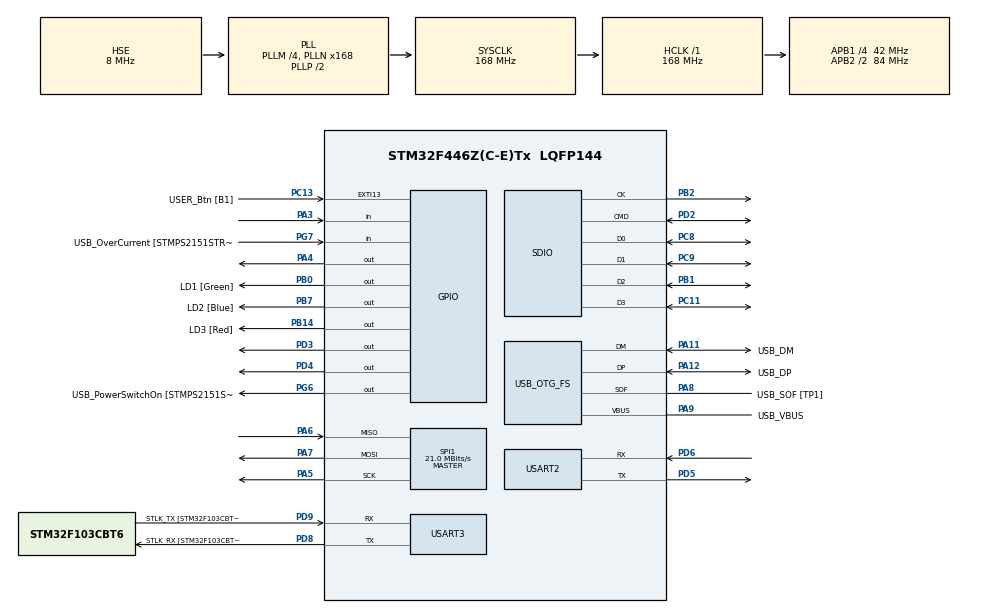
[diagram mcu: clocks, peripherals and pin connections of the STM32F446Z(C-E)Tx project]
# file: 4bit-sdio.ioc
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Dma.Request0=SDIO_TX
Dma.Request1=SDIO_RX
Dma.Request2=SPI1_RX
Dma.Request3=SPI1_TX
Dma.SDIO_RX.1.Direction=DMA_PERIPH_TO_MEMORY
Dma.SDIO_RX.1.FIFOMode=DMA_FIFOMODE_ENABLE
Dma.SDIO_RX.1.FIFOThreshold=DMA_FIFO_THRESHOLD_FULL
Dma.SDIO_RX.1.Instance=DMA2_Stream6
Dma.SDIO_RX.1.MemBurst=DMA_MBURST_INC4
Dma.SDIO_RX.1.MemDataAlignment=DMA_MDATAALIGN_WORD
Dma.SDIO_RX.1.MemInc=DMA_MINC_ENABLE
Dma.SDIO_RX.1.Mode=DMA_PFCTRL
Dma.SDIO_RX.1.PeriphBurst=DMA_PBURST_INC4
Dma.SDIO_RX.1.PeriphDataAlignment=DMA_PDATAALIGN_WORD
Dma.SDIO_RX.1.PeriphInc=DMA_PINC_DISABLE
Dma.SDIO_RX.1.Priority=DMA_PRIORITY_LOW
Dma.SDIO_TX.0.Direction=DMA_MEMORY_TO_PERIPH
Dma.SDIO_TX.0.FIFOMode=DMA_FIFOMODE_ENABLE
Dma.SDIO_TX.0.FIFOThreshold=DMA_FIFO_THRESHOLD_FULL
Dma.SDIO_TX.0.Instance=DMA2_Stream3
Dma.SDIO_TX.0.MemBurst=DMA_MBURST_INC4
Dma.SDIO_TX.0.MemDataAlignment=DMA_MDATAALIGN_WORD
Dma.SDIO_TX.0.MemInc=DMA_MINC_ENABLE
Dma.SDIO_TX.0.Mode=DMA_PFCTRL
Dma.SDIO_TX.0.PeriphBurst=DMA_PBURST_INC4
Dma.SDIO_TX.0.PeriphDataAlignment=DMA_PDATAALIGN_WORD
Dma.SDIO_TX.0.PeriphInc=DMA_PINC_DISABLE
Dma.SDIO_TX.0.Priority=DMA_PRIORITY_LOW
Dma.SPI1_RX.2.Direction=DMA_PERIPH_TO_MEMORY
Dma.SPI1_RX.2.FIFOMode=DMA_FIFOMODE_DISABLE
Dma.SPI1_RX.2.Instance=DMA2_Stream0
Dma.SPI1_RX.2.MemDataAlignment=DMA_MDATAALIGN_BYTE
Dma.SPI1_RX.2.MemInc=DMA_MINC_ENABLE
Dma.SPI1_RX.2.Mode=DMA_CIRCULAR
Dma.SPI1_RX.2.PeriphDataAlignment=DMA_PDATAALIGN_BYTE
Dma.SPI1_RX.2.PeriphInc=DMA_PINC_DISABLE
Dma.SPI1_RX.2.Priority=DMA_PRIORITY_LOW
Dma.SPI1_TX.3.Direction=DMA_MEMORY_TO_PERIPH
Dma.SPI1_TX.3.FIFOMode=DMA_FIFOMODE_DISABLE
Dma.SPI1_TX.3.Instance=DMA2_Stream5
Dma.SPI1_TX.3.MemDataAlignment=DMA_MDATAALIGN_BYTE
Dma.SPI1_TX.3.MemInc=DMA_MINC_ENABLE
Dma.SPI1_TX.3.Mode=DMA_CIRCULAR
Dma.SPI1_TX.3.PeriphDataAlignment=DMA_PDATAALIGN_BYTE
Dma.SPI1_TX.3.PeriphInc=DMA_PINC_DISABLE
Dma.SPI1_TX.3.Priority=DMA_PRIORITY_LOW
FATFS.BSP.number=1
FATFS.USE_DMA_CODE_SD=1
FATFS._MAX_SS=4096
FATFS._USE_LFN=3
FATFS0.BSP.STBoard=false
FATFS0.BSP.api=Unknown
FATFS0.BSP.instance=PA3
FATFS0.BSP.ip=GPIO
FATFS0.BSP.mode=Input
FATFS0.BSP.name=Detect_SDIO
FATFS0.BSP.solution=PA3
Mcu.Family=STM32F4
Mcu.Name=STM32F446Z(C-E)Tx
Mcu.Package=LQFP144
NVIC.DMA2_Stream0_IRQn=true\:0\:0\:false\:false\:true\:false\:true\:true
NVIC.DMA2_Stream3_IRQn=true\:0\:0\:false\:false\:true\:false\:true\:true
NVIC.DMA2_Stream5_IRQn=true\:0\:0\:false\:false\:true\:false\:true\:true
NVIC.DMA2_Stream6_IRQn=true\:0\:0\:false\:false\:true\:false\:true\:true
NVIC.PriorityGroup=NVIC_PRIORITYGROUP_4
NVIC.SDIO_IRQn=true\:0\:0\:false\:false\:true\:true\:true\:true
NVIC.SPI1_IRQn=true\:0\:0\:false\:false\:true\:true\:true\:true
NVIC.USART2_IRQn=true\:0\:0\:false\:false\:true\:true\:true\:true
PA10.GPIO_Label=USB_ID
PA10.Signal=USB_OTG_FS_ID
PA11.GPIO_Label=USB_DM
PA11.Mode=Device_Only
PA11.Signal=USB_OTG_FS_DM
PA12.GPIO_Label=USB_DP
PA12.Mode=Device_Only
PA12.Signal=USB_OTG_FS_DP
PA13.GPIO_Label=TMS
PA13.Mode=Serial_Wire
PA13.Signal=SYS_JTMS-SWDIO
PA14.GPIO_Label=TCK
PA14.Mode=Serial_Wire
PA14.Signal=SYS_JTCK-SWCLK
PA3.Signal=GPIO_Input
PA4.Signal=GPIO_Output
PA5.Mode=Full_Duplex_Master
PA5.Signal=SPI1_SCK
PA6.Mode=Full_Duplex_Master
PA6.Signal=SPI1_MISO
PA7.Mode=Full_Duplex_Master
PA7.Signal=SPI1_MOSI
PA8.GPIO_Label=USB_SOF [TP1]
PA8.Mode=Activate_SOF_FS
PA8.Signal=USB_OTG_FS_SOF
PA9.GPIO_Label=USB_VBUS
PA9.Mode=Activate_VBUS
PA9.Signal=USB_OTG_FS_VBUS
PB0.GPIO_Label=LD1 [Green]
PB0.Signal=GPIO_Output
PB1.Mode=SD_4_bits_Wide_bus
PB1.Signal=SDIO_D2
PB14.GPIO_Label=LD3 [Red]
PB14.Signal=GPIO_Output
PB2.Mode=SD_4_bits_Wide_bus
PB2.Signal=SDIO_CK
PB7.GPIO_Label=LD2 [Blue]
PB7.Signal=GPIO_Output
PC11.Mode=SD_4_bits_Wide_bus
PC11.Signal=SDIO_D3
PC13.GPIO_Label=USER_Btn [B1]
PC13.Signal=GPXTI13
PC14-OSC32_IN.Mode=LSE-External-Oscillator
PC14-OSC32_IN.Signal=RCC_OSC32_IN
PC15-OSC32_OUT.Mode=LSE-External-Oscillator
PC15-OSC32_OUT.Signal=RCC_OSC32_OUT
PC8.Mode=SD_4_bits_Wide_bus
PC8.Signal=SDIO_D0
PC9.Mode=SD_4_bits_Wide_bus
PC9.Signal=SDIO_D1
PD2.Mode=SD_4_bits_Wide_bus
PD2.Signal=SDIO_CMD
PD3.Signal=GPIO_Output
PD4.Signal=GPIO_Output
PD5.Mode=Asynchronous
PD5.Signal=USART2_TX
PD6.Mode=Asynchronous
PD6.Signal=USART2_RX
PD8.GPIO_Label=STLK_RX [STM32F103CBT6_PA3]
PD8.Mode=Asynchronous
PD8.Signal=USART3_TX
PD9.GPIO_Label=STLK_TX [STM32F103CBT6_PA2]
PD9.Mode=Asynchronous
PD9.Signal=USART3_RX
PG6.GPIO_Label=USB_PowerSwitchOn [STMPS2151STR_EN]
PG6.Signal=GPIO_Output
PG7.GPIO_Label=USB_OverCurrent [STMPS2151STR_FAULT]
PG7.Signal=GPIO_Input
PH0-OSC_IN.GPIO_Label=MCO [STM32F103CBT6_PA8]
PH0-OSC_IN.Mode=HSE-External-Clock-Source
PH0-OSC_IN.Signal=RCC_OSC_IN
PH1-OSC_OUT.Mode=HSE-External-Clock-Source
PH1-OSC_OUT.Signal=RCC_OSC_OUT
ProjectManager.HeapSize=0x200
ProjectManager.StackSize=0x400
ProjectManager.TargetToolchain=STM32CubeIDE
RCC.48MHZClocksFreq_Value=24000000
RCC.AHBFreq_Value=168000000
RCC.APB1CLKDivider=RCC_HCLK_DIV4
RCC.APB1Freq_Value=42000000
RCC.APB1TimFreq_Value=84000000
RCC.APB2CLKDivider=RCC_HCLK_DIV2
RCC.APB2Freq_Value=84000000
RCC.APB2TimFreq_Value=168000000
RCC.CortexFreq_Value=168000000
RCC.HCLKFreq_Value=168000000
RCC.HSE_VALUE=8000000
RCC.HSI_VALUE=16000000
RCC.PLLM=4
RCC.PLLMUL=RCC_PLL_MUL9
RCC.PLLN=168
RCC.PLLQ=7
RCC.PRESCALERUSB=RCC_USBCLKSOURCE_PLL_DIV1_5
RCC.SYSCLKFreq_VALUE=168000000
RCC.SYSCLKSource=RCC_SYSCLKSOURCE_PLLCLK
RCC.SYSCLKSourceVirtual=RCC_SYSCLKSOURCE_PLLCLK
RCC.USBFreq_Value=48000000
RCC.VCOOutputFreq_Value=336000000
SDIO.ClockDiv=0
SDIO.HardwareFlowControl=SDIO_HARDWARE_FLOW_CONTROL_ENABLE
SPI1.BaudRatePrescaler=SPI_BAUDRATEPRESCALER_4
SPI1.CalculateBaudRate=21.0 MBits/s
SPI1.Direction=SPI_DIRECTION_2LINES
SPI1.Mode=SPI_MODE_MASTER
SPI1.VirtualType=VM_MASTER
USART2.VirtualMode=VM_ASYNC
USART3.VirtualMode=VM_ASYNC
USB_OTG_FS.VirtualMode=Device_Only
VP_FATFS_VS_SDIO.Mode=SDIO
board=NUCLEO-F446ZE

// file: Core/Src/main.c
/* USER CODE BEGIN Header */
/**
  ******************************************************************************
  * @file           : main.c
  * @brief          : Main program body
  ******************************************************************************
  * @attention
  *
  * Copyright (c) 2025 STMicroelectronics.
  * All rights reserved.
  *
  * This software is licensed under terms that can be found in the LICENSE file
  * in the root directory of this software component.
  * If no LICENSE file comes with this software, it is provided AS-IS.
  *
  ******************************************************************************
  */
/* USER CODE END Header */
#include "main.h"
#include "fatfs.h"

/* USER CODE BEGIN Includes */
#include "stdio.h"
#include "string.h"
#include "stdbool.h"
/* USER CODE END Includes */

SD_HandleTypeDef hsd;
DMA_HandleTypeDef hdma_sdio_tx;
DMA_HandleTypeDef hdma_sdio_rx;

SPI_HandleTypeDef hspi1;
DMA_HandleTypeDef hdma_spi1_rx;
DMA_HandleTypeDef hdma_spi1_tx;

UART_HandleTypeDef huart2;
UART_HandleTypeDef huart3;

PCD_HandleTypeDef hpcd_USB_OTG_FS;

void SystemClock_Config(void);
static void MX_GPIO_Init(void);
static void MX_DMA_Init(void);
static void MX_SDIO_SD_Init(void);
static void MX_USART3_UART_Init(void);
static void MX_USB_OTG_FS_PCD_Init(void);
static void MX_USART2_UART_Init(void);
static void MX_SPI1_Init(void);
/* USER CODE BEGIN PFP */

#define PUTCHAR_PROTOTYPE int __io_putchar(int ch)
static void SPI_SDIO_Test(uint32_t num_bytes);
static void SDIO_SDCard_Test(void);

char stop_code = 'P';
char start_code = 'S';

volatile bool first_half_filled = false;
volatile bool second_half_filled = false;

#define SPI_BUFFER_SIZE 32768
#define HALF_SPI_BUFFER_SIZE SPI_BUFFER_SIZE / 2

uint8_t spi_buffer[SPI_BUFFER_SIZE];

#define NUM_ERRORS 100

volatile uint32_t curr_received_num = 0;
uint32_t num_errors = 0;
uint8_t errors[NUM_ERRORS];
uint8_t expected_num[NUM_ERRORS];
uint32_t indices[NUM_ERRORS];

/* USER CODE END PFP */

/* USER CODE BEGIN 0 */

void HAL_SPI_TxRxHalfCpltCallback(SPI_HandleTypeDef *hspi)
{
	first_half_filled = true;

	HAL_GPIO_WritePin(GPIOB, LD2_Pin, GPIO_PIN_SET);
	HAL_GPIO_WritePin(GPIOD, GPIO_PIN_3, GPIO_PIN_SET);
}

void HAL_SPI_TxRxCpltCallback(SPI_HandleTypeDef *hspi)
{
	second_half_filled = true;
	HAL_GPIO_WritePin(GPIOB, LD2_Pin, GPIO_PIN_SET);
	HAL_GPIO_WritePin(GPIOD, GPIO_PIN_3, GPIO_PIN_SET);
}

/* USER CODE END 0 */

int main(void)
{

  /* MCU Configuration--------------------------------------------------------*/

  /* Reset of all peripherals, Initializes the Flash interface and the Systick. */
  HAL_Init();

  /* Configure the system clock */
  SystemClock_Config();

  /* Initialize all configured peripherals */
  MX_GPIO_Init();
  MX_DMA_Init();
  MX_SDIO_SD_Init();
  MX_USART3_UART_Init();
  MX_USB_OTG_FS_PCD_Init();
  MX_USART2_UART_Init();
  MX_FATFS_Init();
  MX_SPI1_Init();
  /* USER CODE BEGIN 2 */
//  SDIO_SDCard_Test();
  HAL_GPIO_WritePin(GPIOA, GPIO_PIN_4, GPIO_PIN_SET);

  printf("started SPI Transmit\n");
  for(int i = 0; i < SPI_BUFFER_SIZE; i++){
	  spi_buffer[i] = i % 256;
  }

  /* USER CODE END 2 */

  /* Infinite loop */
  /* USER CODE BEGIN WHILE */
  while (1)
  {
//	printf("Hello World\n\r");

	if(HAL_GPIO_ReadPin(USER_Btn_GPIO_Port, USER_Btn_Pin)){
		HAL_GPIO_WritePin(GPIOB, LD1_Pin, GPIO_PIN_SET);
		num_errors = 0;
		curr_received_num = 0;
		printf("running the spi transmission");
//		SPI_SDIO_Test(SPI_BUFFER_SIZE * 256);
		SPI_SDIO_Test(SPI_BUFFER_SIZE * 100);
		printf("there were %lu errors over %lu number of bytes:\n", num_errors, curr_received_num);
		int iteration_num = num_errors > NUM_ERRORS ? NUM_ERRORS: num_errors;
		for (int i = 0; i < iteration_num; i++){
			printf("expected num: %u, actual value: %u, index %lu\n", expected_num[i], errors[i], indices[i]);
		}

//		SDIO_SDCard_Test();
		HAL_Delay(1000);
	}
	else {
		HAL_GPIO_WritePin(GPIOB, LD1_Pin, GPIO_PIN_RESET);
	}
    /* USER CODE END WHILE */

  }
}

void SystemClock_Config(void)
{
  RCC_OscInitTypeDef RCC_OscInitStruct = {0};
  RCC_ClkInitTypeDef RCC_ClkInitStruct = {0};

  /** Configure the main internal regulator output voltage
  */
  __HAL_RCC_PWR_CLK_ENABLE();
  __HAL_PWR_VOLTAGESCALING_CONFIG(PWR_REGULATOR_VOLTAGE_SCALE1);

  /** Initializes the RCC Oscillators according to the specified parameters
  * in the RCC_OscInitTypeDef structure.
  */
  RCC_OscInitStruct.OscillatorType = RCC_OSCILLATORTYPE_HSE;
  RCC_OscInitStruct.HSEState = RCC_HSE_BYPASS;
  RCC_OscInitStruct.PLL.PLLState = RCC_PLL_ON;
  RCC_OscInitStruct.PLL.PLLSource = RCC_PLLSOURCE_HSE;
  RCC_OscInitStruct.PLL.PLLM = 4;
  RCC_OscInitStruct.PLL.PLLN = 168;
  RCC_OscInitStruct.PLL.PLLP = RCC_PLLP_DIV2;
  RCC_OscInitStruct.PLL.PLLQ = 7;
  RCC_OscInitStruct.PLL.PLLR = 2;
  if (HAL_RCC_OscConfig(&RCC_OscInitStruct) != HAL_OK)
  {
    Error_Handler();
  }

  /** Initializes the CPU, AHB and APB buses clocks
  */
  RCC_ClkInitStruct.ClockType = RCC_CLOCKTYPE_HCLK|RCC_CLOCKTYPE_SYSCLK
                              |RCC_CLOCKTYPE_PCLK1|RCC_CLOCKTYPE_PCLK2;
  RCC_ClkInitStruct.SYSCLKSource = RCC_SYSCLKSOURCE_PLLCLK;
  RCC_ClkInitStruct.AHBCLKDivider = RCC_SYSCLK_DIV1;
  RCC_ClkInitStruct.APB1CLKDivider = RCC_HCLK_DIV4;
  RCC_ClkInitStruct.APB2CLKDivider = RCC_HCLK_DIV2;

  if (HAL_RCC_ClockConfig(&RCC_ClkInitStruct, FLASH_LATENCY_5) != HAL_OK)
  {
    Error_Handler();
  }
}

static void MX_SDIO_SD_Init(void)
{

  hsd.Instance = SDIO;
  hsd.Init.ClockEdge = SDIO_CLOCK_EDGE_RISING;
  hsd.Init.ClockBypass = SDIO_CLOCK_BYPASS_DISABLE;
  hsd.Init.ClockPowerSave = SDIO_CLOCK_POWER_SAVE_DISABLE;
  hsd.Init.BusWide = SDIO_BUS_WIDE_1B;
  hsd.Init.HardwareFlowControl = SDIO_HARDWARE_FLOW_CONTROL_ENABLE;
  hsd.Init.ClockDiv = 0;
  /* USER CODE BEGIN SDIO_Init 2 */

  	  hsd.Init.BusWide = SDIO_BUS_WIDE_1B;
  	  if(HAL_SD_Init(&hsd) != HAL_OK){
  		  Error_Handler();
  	  }

  	  if(HAL_SD_ConfigWideBusOperation(&hsd, SDIO_BUS_WIDE_4B) != HAL_OK){
  		  Error_Handler();
  	  }

  /* USER CODE END SDIO_Init 2 */

}

static void MX_SPI1_Init(void)
{

  /* SPI1 parameter configuration*/
  hspi1.Instance = SPI1;
  hspi1.Init.Mode = SPI_MODE_MASTER;
  hspi1.Init.Direction = SPI_DIRECTION_2LINES;
  hspi1.Init.DataSize = SPI_DATASIZE_8BIT;
  hspi1.Init.CLKPolarity = SPI_POLARITY_LOW;
  hspi1.Init.CLKPhase = SPI_PHASE_1EDGE;
  hspi1.Init.NSS = SPI_NSS_SOFT;
  hspi1.Init.BaudRatePrescaler = SPI_BAUDRATEPRESCALER_4;
  hspi1.Init.FirstBit = SPI_FIRSTBIT_MSB;
  hspi1.Init.TIMode = SPI_TIMODE_DISABLE;
  hspi1.Init.CRCCalculation = SPI_CRCCALCULATION_DISABLE;
  hspi1.Init.CRCPolynomial = 10;
  if (HAL_SPI_Init(&hspi1) != HAL_OK)
  {
    Error_Handler();
  }

}

static void MX_USART2_UART_Init(void)
{

  huart2.Instance = USART2;
  huart2.Init.BaudRate = 115200;
  huart2.Init.WordLength = UART_WORDLENGTH_8B;
  huart2.Init.StopBits = UART_STOPBITS_1;
  huart2.Init.Parity = UART_PARITY_NONE;
  huart2.Init.Mode = UART_MODE_TX_RX;
  huart2.Init.HwFlowCtl = UART_HWCONTROL_NONE;
  huart2.Init.OverSampling = UART_OVERSAMPLING_16;
  if (HAL_UART_Init(&huart2) != HAL_OK)
  {
    Error_Handler();
  }

}

static void MX_USART3_UART_Init(void)
{

  huart3.Instance = USART3;
  huart3.Init.BaudRate = 115200;
  huart3.Init.WordLength = UART_WORDLENGTH_8B;
  huart3.Init.StopBits = UART_STOPBITS_1;
  huart3.Init.Parity = UART_PARITY_NONE;
  huart3.Init.Mode = UART_MODE_TX_RX;
  huart3.Init.HwFlowCtl = UART_HWCONTROL_NONE;
  huart3.Init.OverSampling = UART_OVERSAMPLING_16;
  if (HAL_UART_Init(&huart3) != HAL_OK)
  {
    Error_Handler();
  }

}

static void MX_USB_OTG_FS_PCD_Init(void)
{

  hpcd_USB_OTG_FS.Instance = USB_OTG_FS;
  hpcd_USB_OTG_FS.Init.dev_endpoints = 6;
  hpcd_USB_OTG_FS.Init.speed = PCD_SPEED_FULL;
  hpcd_USB_OTG_FS.Init.dma_enable = DISABLE;
  hpcd_USB_OTG_FS.Init.phy_itface = PCD_PHY_EMBEDDED;
  hpcd_USB_OTG_FS.Init.Sof_enable = ENABLE;
  hpcd_USB_OTG_FS.Init.low_power_enable = DISABLE;
  hpcd_USB_OTG_FS.Init.lpm_enable = DISABLE;
  hpcd_USB_OTG_FS.Init.vbus_sensing_enable = ENABLE;
  hpcd_USB_OTG_FS.Init.use_dedicated_ep1 = DISABLE;
  if (HAL_PCD_Init(&hpcd_USB_OTG_FS) != HAL_OK)
  {
    Error_Handler();
  }

}

static void MX_DMA_Init(void)
{

  /* DMA controller clock enable */
  __HAL_RCC_DMA2_CLK_ENABLE();

  /* DMA interrupt init */
  /* DMA2_Stream0_IRQn interrupt configuration */
  HAL_NVIC_SetPriority(DMA2_Stream0_IRQn, 0, 0);
  HAL_NVIC_EnableIRQ(DMA2_Stream0_IRQn);
  /* DMA2_Stream3_IRQn interrupt configuration */
  HAL_NVIC_SetPriority(DMA2_Stream3_IRQn, 0, 0);
  HAL_NVIC_EnableIRQ(DMA2_Stream3_IRQn);
  /* DMA2_Stream5_IRQn interrupt configuration */
  HAL_NVIC_SetPriority(DMA2_Stream5_IRQn, 0, 0);
  HAL_NVIC_EnableIRQ(DMA2_Stream5_IRQn);
  /* DMA2_Stream6_IRQn interrupt configuration */
  HAL_NVIC_SetPriority(DMA2_Stream6_IRQn, 0, 0);
  HAL_NVIC_EnableIRQ(DMA2_Stream6_IRQn);

}

static void MX_GPIO_Init(void)
{
  GPIO_InitTypeDef GPIO_InitStruct = {0};

  /* GPIO Ports Clock Enable */
  __HAL_RCC_GPIOC_CLK_ENABLE();
  __HAL_RCC_GPIOH_CLK_ENABLE();
  __HAL_RCC_GPIOA_CLK_ENABLE();
  __HAL_RCC_GPIOB_CLK_ENABLE();
  __HAL_RCC_GPIOD_CLK_ENABLE();
  __HAL_RCC_GPIOG_CLK_ENABLE();

  /*Configure GPIO pin Output Level */
  HAL_GPIO_WritePin(GPIOA, GPIO_PIN_4, GPIO_PIN_RESET);

  /*Configure GPIO pin Output Level */
  HAL_GPIO_WritePin(GPIOB, LD1_Pin|LD3_Pin|LD2_Pin, GPIO_PIN_RESET);

  /*Configure GPIO pin Output Level */
  HAL_GPIO_WritePin(USB_PowerSwitchOn_GPIO_Port, USB_PowerSwitchOn_Pin, GPIO_PIN_RESET);

  /*Configure GPIO pin Output Level */
  HAL_GPIO_WritePin(GPIOD, GPIO_PIN_3|GPIO_PIN_4, GPIO_PIN_RESET);

  /*Configure GPIO pin : USER_Btn_Pin */
  GPIO_InitStruct.Pin = USER_Btn_Pin;
  GPIO_InitStruct.Mode = GPIO_MODE_IT_RISING;
  GPIO_InitStruct.Pull = GPIO_NOPULL;
  HAL_GPIO_Init(USER_Btn_GPIO_Port, &GPIO_InitStruct);

  /*Configure GPIO pin : PA3 */
  GPIO_InitStruct.Pin = GPIO_PIN_3;
  GPIO_InitStruct.Mode = GPIO_MODE_INPUT;
  GPIO_InitStruct.Pull = GPIO_NOPULL;
  HAL_GPIO_Init(GPIOA, &GPIO_InitStruct);

  /*Configure GPIO pin : PA4 */
  GPIO_InitStruct.Pin = GPIO_PIN_4;
  GPIO_InitStruct.Mode = GPIO_MODE_OUTPUT_PP;
  GPIO_InitStruct.Pull = GPIO_NOPULL;
  GPIO_InitStruct.Speed = GPIO_SPEED_FREQ_LOW;
  HAL_GPIO_Init(GPIOA, &GPIO_InitStruct);

  /*Configure GPIO pins : LD1_Pin LD3_Pin LD2_Pin */
  GPIO_InitStruct.Pin = LD1_Pin|LD3_Pin|LD2_Pin;
  GPIO_InitStruct.Mode = GPIO_MODE_OUTPUT_PP;
  GPIO_InitStruct.Pull = GPIO_NOPULL;
  GPIO_InitStruct.Speed = GPIO_SPEED_FREQ_LOW;
  HAL_GPIO_Init(GPIOB, &GPIO_InitStruct);

  /*Configure GPIO pin : USB_PowerSwitchOn_Pin */
  GPIO_InitStruct.Pin = USB_PowerSwitchOn_Pin;
  GPIO_InitStruct.Mode = GPIO_MODE_OUTPUT_PP;
  GPIO_InitStruct.Pull = GPIO_NOPULL;
  GPIO_InitStruct.Speed = GPIO_SPEED_FREQ_LOW;
  HAL_GPIO_Init(USB_PowerSwitchOn_GPIO_Port, &GPIO_InitStruct);

  /*Configure GPIO pin : USB_OverCurrent_Pin */
  GPIO_InitStruct.Pin = USB_OverCurrent_Pin;
  GPIO_InitStruct.Mode = GPIO_MODE_INPUT;
  GPIO_InitStruct.Pull = GPIO_NOPULL;
  HAL_GPIO_Init(USB_OverCurrent_GPIO_Port, &GPIO_InitStruct);

  /*Configure GPIO pins : PD3 PD4 */
  GPIO_InitStruct.Pin = GPIO_PIN_3|GPIO_PIN_4;
  GPIO_InitStruct.Mode = GPIO_MODE_OUTPUT_PP;
  GPIO_InitStruct.Pull = GPIO_NOPULL;
  GPIO_InitStruct.Speed = GPIO_SPEED_FREQ_LOW;
  HAL_GPIO_Init(GPIOD, &GPIO_InitStruct);

}

/* USER CODE BEGIN 4 */

/**
  * @brief  Retargets the C library printf function to the USART.
  *   None
  * @retval None
  */
PUTCHAR_PROTOTYPE
{

  /* Place your implementation of fputc here */
  /* e.g. write a character to the USART1 and Loop until the end of transmission */
  HAL_UART_Transmit(&huart2, (uint8_t *)&ch, 1, 0xFFFF);

  return ch;
}

static void SPI_SDIO_Test(uint32_t num_bytes){
//	HAL_GPIO_WritePin(GPIOD, GPIO_PIN_3, GPIO_PIN_SET);
	UINT WWC;
	FATFS FatFs;
	FIL Fil;
	FRESULT FR_Status;
	FR_Status = f_mount(&FatFs, SDPath, 1);
	FR_Status = f_open(&Fil, "test.bin", FA_WRITE | FA_READ | FA_CREATE_ALWAYS);
	if(FR_Status != FR_OK)
	{
		printf("Error! While Creating/Opening A New Text File, Error Code: (%i)\r\n", FR_Status);
		FR_Status = f_mount(NULL, "", 0);
		return;
	}

	uint8_t ackByte = 0;
	while (ackByte != 67){
		HAL_GPIO_WritePin(GPIOA, GPIO_PIN_4, GPIO_PIN_RESET);
		HAL_SPI_TransmitReceive(&hspi1, (uint8_t *)&start_code,(uint8_t *)&ackByte, 1, 100);
		HAL_GPIO_WritePin(GPIOA, GPIO_PIN_4, GPIO_PIN_SET);
		HAL_Delay(10);
//		HAL_GPIO_WritePin(GPIOA, GPIO_PIN_4, GPIO_PIN_RESET);
//		HAL_SPI_Receive(&hspi1,  1, 100);
//		HAL_GPIO_WritePin(GPIOA, GPIO_PIN_4, GPIO_PIN_SET);
//		HAL_Delay(10);
	}
	HAL_GPIO_WritePin(GPIOA, GPIO_PIN_4, GPIO_PIN_RESET);
	HAL_SPI_Transmit(&hspi1, (uint8_t *)&num_bytes, 4, 100);
	HAL_GPIO_WritePin(GPIOA, GPIO_PIN_4, GPIO_PIN_SET);
	HAL_Delay(5);

//	else{
//	  f_write(&Fil, buffer, num_bytes, &WWC);
//	  f_close(&Fil);
//	}
	HAL_GPIO_WritePin(GPIOD, GPIO_PIN_3, GPIO_PIN_RESET);

//	for(int i = 0; i < 256; i++){
//		HAL_GPIO_WritePin(GPIOD, GPIO_PIN_3, GPIO_PIN_SET);
//		f_write(&Fil, spi_buffer, SPI_BUFFER_SIZE , &WWC);
//		HAL_GPIO_WritePin(GPIOD, GPIO_PIN_3, GPIO_PIN_RESET);
//	}
	HAL_GPIO_WritePin(GPIOA, GPIO_PIN_4, GPIO_PIN_RESET);
	HAL_SPI_TransmitReceive_DMA(&hspi1, (uint8_t *)spi_buffer,(uint8_t *)spi_buffer, SPI_BUFFER_SIZE);
	uint32_t written_bytes = 0;
	uint32_t start_time = HAL_GetTick();
	while ((HAL_GetTick() - start_time) < 15000 && (written_bytes < num_bytes - 1)){
		if(first_half_filled){
//			HAL_GPIO_WritePin(GPIOD, GPIO_PIN_3, GPIO_PIN_SET)
			for (int i = 0; i < HALF_SPI_BUFFER_SIZE; i += 1){
				if (spi_buffer[i] != curr_received_num % 256){
					if(num_errors < NUM_ERRORS){
						errors[num_errors] = spi_buffer[i];
						expected_num[num_errors] = curr_received_num%256;
						indices[num_errors] = curr_received_num;
					}
					num_errors++;
				}
				curr_received_num++;
			}
//			f_write(&Fil, &spi_buffer, HALF_SPI_BUFFER_SIZE , &WWC);
//			HAL_GPIO_WritePin(GPIOD, GPIO_PIN_3, GPIO_PIN_RESET);
			written_bytes += HALF_SPI_BUFFER_SIZE;
			first_half_filled = false;
		}
		if(second_half_filled){
			for (int i = HALF_SPI_BUFFER_SIZE; i < SPI_BUFFER_SIZE; i += 1){
				if ( spi_buffer[i] != curr_received_num % 256){
					if(num_errors < NUM_ERRORS){
						errors[num_errors] = spi_buffer[i];
						expected_num[num_errors] = curr_received_num%256;
						indices[num_errors] = curr_received_num;
					}
					num_errors++;
				}
				curr_received_num++;
			}
//			HAL_GPIO_WritePin(GPIOD, GPIO_PIN_3, GPIO_PIN_SET);
//			f_write(&Fil, &spi_buffer[HALF_SPI_BUFFER_SIZE], HALF_SPI_BUFFER_SIZE , &WWC);
//			HAL_GPIO_WritePin(GPIOD, GPIO_PIN_3, GPIO_PIN_RESET);
			written_bytes += HALF_SPI_BUFFER_SIZE;
			second_half_filled = false;
		}
	}
	HAL_SPI_DMAStop(&hspi1); // Stop the clock once we have enough data
	HAL_GPIO_WritePin(GPIOA, GPIO_PIN_4, GPIO_PIN_SET);
	f_close(&Fil);

	FR_Status = f_mount(NULL, "", 0);
	if (FR_Status != FR_OK)
	{
		printf("\r\nError! While Un-mounting SD Card, Error Code: (%i)\r\n", FR_Status);
	}
	else{
		printf("\r\nSD Card Un-mounted Successfully! \r\n");
	}

}

static void SDIO_SDCard_Test(void)
{
  FATFS FatFs;
  FIL Fil;
  FRESULT FR_Status;
  FATFS *FS_Ptr;
  UINT RWC, WWC; // Read/Write Word Counter
  DWORD FreeClusters;
  uint32_t TotalSize, FreeSpace;
  #define BUFFER_SIZE 4096
  unsigned char RW_Buffer[BUFFER_SIZE];
  for(int i = 0; i < BUFFER_SIZE; i++){
	  RW_Buffer[i] = i % 128;
  }
  do
  {
    //------------------[ Mount The SD Card ]--------------------
    FR_Status = f_mount(&FatFs, SDPath, 1);
    if (FR_Status != FR_OK)
    {
      printf("Error! While Mounting SD Card, Error Code: (%i)\r\n", FR_Status);
      break;
    }
    printf("SD Card Mounted Successfully! \r\n\n");

    //------------------[ Get & Print The SD Card Size & Free Space ]--------------------
    f_getfree("", &FreeClusters, &FS_Ptr);
    TotalSize = (uint32_t)((FS_Ptr->n_fatent - 2) * FS_Ptr->csize * 0.5);
    FreeSpace = (uint32_t)(FreeClusters * FS_Ptr->csize * 0.5);
    printf("Total SD Card Size: %lu Bytes\r\n", TotalSize);
    printf("Free SD Card Space: %lu Bytes\r\n\n", FreeSpace);

    //------------------[ Open A Text File For Write & Write Data ]--------------------
    //Open the file
    FR_Status = f_open(&Fil, "MyTextFile.bin", FA_WRITE | FA_READ | FA_CREATE_ALWAYS);
    if(FR_Status != FR_OK)
    {
      printf("Error! While Creating/Opening A New Text File, Error Code: (%i)\r\n", FR_Status);
      break;
    }
    HAL_GPIO_WritePin(GPIOD, GPIO_PIN_4, GPIO_PIN_SET);
    for(int i = 0; i < 250; i++){
    	HAL_GPIO_WritePin(GPIOD, GPIO_PIN_3, GPIO_PIN_SET);
    	f_write(&Fil, RW_Buffer, BUFFER_SIZE, &WWC);
    	HAL_GPIO_WritePin(GPIOD, GPIO_PIN_3, GPIO_PIN_RESET);
    }
    HAL_GPIO_WritePin(GPIOD, GPIO_PIN_4, GPIO_PIN_RESET);

    // Close The File
    f_close(&Fil);
    printf("Finished SD Card Test");
    //------------------[ Open A Text File For Read & Read Its Data ]--------------------
    // Open The File
    FR_Status = f_open(&Fil, "MyTextFile.txt", FA_READ);
    if(FR_Status != FR_OK)
    {
      printf("Error! While Opening (MyTextFile.txt) File For Read.. \r\n");
      break;
    }
    // (1) Read The Text File's Data [ Using f_gets() Function ]
    f_gets(RW_Buffer, sizeof(RW_Buffer), &Fil);
    printf("Data Read From (MyTextFile.txt) Using f_gets():%s", RW_Buffer);
    // (2) Read The Text File's Data [ Using f_read() Function ]
    f_read(&Fil, RW_Buffer, f_size(&Fil), &RWC);
    printf("Data Read From (MyTextFile.txt) Using f_read():%s", RW_Buffer);
    // Close The File
    f_close(&Fil);
    printf("File Closed! \r\n\n");
    //------------------[ Open An Existing Text File, Update Its Content, Read It Back ]--------------------
    // (1) Open The Existing File For Write (Update)
    FR_Status = f_open(&Fil, "MyTextFile.txt", FA_OPEN_EXISTING | FA_WRITE);
    FR_Status = f_lseek(&Fil, f_size(&Fil)); // Move The File Pointer To The EOF (End-Of-File)
    if(FR_Status != FR_OK)
    {
      printf("Error! While Opening (MyTextFile.txt) File For Update.. \r\n");
      break;
    }
    // (2) Write New Line of Text Data To The File
    FR_Status = f_puts("This New Line Was Added During File Update!\r\n", &Fil);
    f_close(&Fil);
    memset(RW_Buffer,'\0',sizeof(RW_Buffer)); // Clear The Buffer
    // (3) Read The Contents of The Text File After The Update
    FR_Status = f_open(&Fil, "MyTextFile.txt", FA_READ); // Open The File For Read
    f_read(&Fil, RW_Buffer, f_size(&Fil), &RWC);

    f_close(&Fil);
    //------------------[ Delete The Text File ]--------------------
    // Delete The File
    /*
    FR_Status = f_unlink(MyTextFile.txt);
    if (FR_Status != FR_OK){
        sprintf(TxBuffer, "Error! While Deleting The (MyTextFile.txt) File.. \r\n");
        USC_CDC_Print(TxBuffer);
    }
    */
  } while(0);
  //------------------[ Test Complete! Unmount The SD Card ]--------------------
  FR_Status = f_mount(NULL, "", 0);
  if (FR_Status != FR_OK)
  {
      printf("\r\nError! While Un-mounting SD Card, Error Code: (%i)\r\n", FR_Status);
  } else{
      printf("\r\nSD Card Un-mounted Successfully! \r\n");
  }
}

/* USER CODE END 4 */

void Error_Handler(void)
{
  __disable_irq();
  while (1)
  {
  }
}
